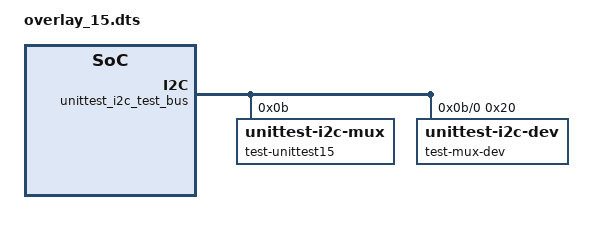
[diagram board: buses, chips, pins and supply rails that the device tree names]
/*
 * Copyright (C) 2018 Sony Mobile Communications Inc.
 *
 * This program is free software; you can redistribute it and/or modify
 * it under the terms of the GNU General Public License version 2, as
 * published by the Free Software Foundation.
 */
// SPDX-License-Identifier: GPL-2.0
/dts-v1/;
/plugin/;

/* overlay_15 - mux overlay */

&unittest_i2c_test_bus {
	#address-cells = <1>;
	#size-cells = <0>;
	test-unittest15 {
		reg = <11>;
		compatible = "unittest-i2c-mux";
		status = "okay";

		#address-cells = <1>;
		#size-cells = <0>;

		i2c@0 {
			#address-cells = <1>;
			#size-cells = <0>;
			reg = <0>;

			test-mux-dev {
				reg = <32>;
				compatible = "unittest-i2c-dev";
				status = "okay";
			};
		};
	};
};
